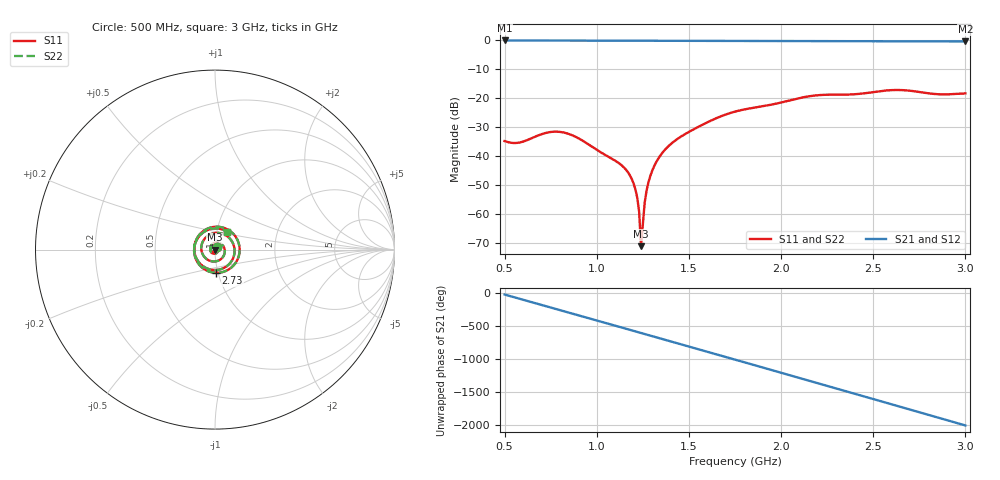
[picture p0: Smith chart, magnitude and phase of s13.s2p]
!freq-unit  param-type  data-format  keyword  impedance-ohms
# GHZ  S  RI  R  50
!Freq  ReS11  ImS11  ReS21  ImS21  ReS12  ImS12  ReS22  ImS22
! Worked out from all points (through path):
!   251 points, 500 MHz to 3 GHz, reference 50 ohm
!   highest |S21| = -0.12 dB at 500 MHz (marker M1); lowest = -0.5 dB at 3 GHz (marker M2)
!   group delay of S21, straight-line fit = 2.2 ns
!   lowest |S11| = -71.2 dB at 1.24 GHz (marker M3), VSWR 1.00, Z = 50 - j0.0206 ohm
!   |S11| at or under -10 dB: start of sweep to end of sweep
!   |S22| runs from -71.2 to -17.2 dB; largest |S21 - S12| = 0
!   S11 on the Smith chart (normalised r, x): 500 MHz: 1.02, +0.03; 2.73 GHz: 0.98, -0.26; 3 GHz: 1.12, +0.23
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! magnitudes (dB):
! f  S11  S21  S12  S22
! 500 MHz  -34.9  -0.1  -0.1  -34.9
! 580 MHz  -35.4  -0.1  -0.1  -35.4
! 780 MHz  -31.6  -0.2  -0.2  -31.6
! 920 MHz  -34.6  -0.2  -0.2  -34.6
! 1.12 GHz  -42.5  -0.2  -0.2  -42.5
! 1.18 GHz  -46.8  -0.2  -0.2  -46.8
! 1.2 GHz  -49.6  -0.2  -0.2  -49.6
! 1.22 GHz  -54.6  -0.2  -0.2  -54.6
! 1.23 GHz  -59.4  -0.2  -0.2  -59.4
! 1.24 GHz  -71.2  -0.2  -0.2  -71.2
! 1.26 GHz  -56.2  -0.2  -0.2  -56.2
! 1.27 GHz  -52.1  -0.2  -0.2  -52.1
! 1.3 GHz  -45.3  -0.2  -0.2  -45.3
! 1.34 GHz  -40.3  -0.2  -0.2  -40.3
! 1.39 GHz  -36.6  -0.2  -0.2  -36.6
! 1.47 GHz  -32.8  -0.2  -0.2  -32.8
! 1.63 GHz  -27.5  -0.3  -0.3  -27.5
! 1.75 GHz  -24.7  -0.3  -0.3  -24.7
! 2.17 GHz  -19.2  -0.4  -0.4  -19.2
! 2.59 GHz  -17.3  -0.4  -0.4  -17.3
! 2.73 GHz  -17.7  -0.4  -0.4  -17.7
! 3 GHz  -18.4  -0.5  -0.5  -18.4
